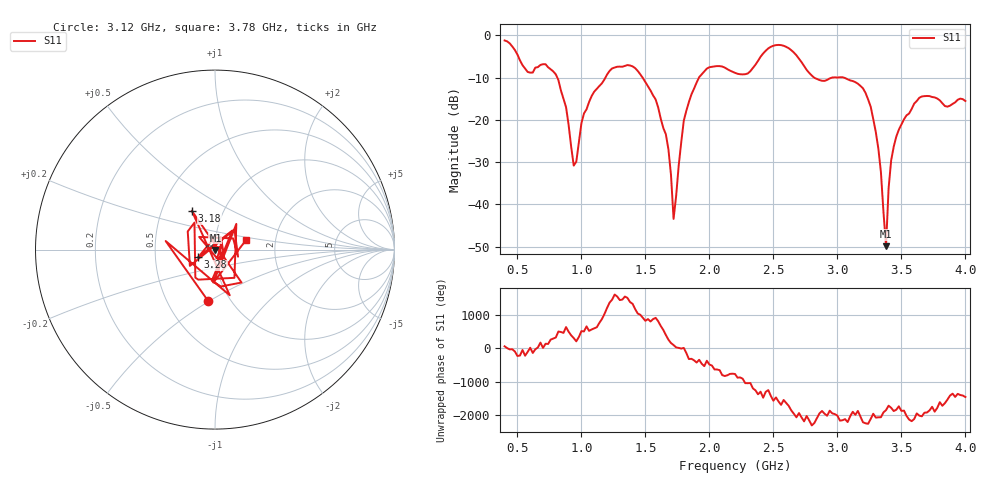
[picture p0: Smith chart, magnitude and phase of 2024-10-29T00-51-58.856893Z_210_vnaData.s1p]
!Created with skrf (http://scikit-rf.org).
# Hz S RI R 50.0
!freq ReS11 ImS11
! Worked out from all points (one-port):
!   181 points, 400 MHz to 4 GHz, reference 50 ohm
!   lowest |S11| = -49.9 dB at 3.38 GHz (marker M1), VSWR 1.01, Z = 50.2 - j0.243 ohm
!   |S11| at or under -10 dB: 811.4 MHz to 1.188 GHz (376.5 MHz wide, 37.7 % of centre); 1.478 GHz to 1.919 GHz (440.7 MHz wide, 26 % of centre); 3.048 GHz to end of sweep (the widest 3 of 4)
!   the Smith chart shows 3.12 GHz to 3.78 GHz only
!   S11 on the Smith chart (normalised r, x): 3.12 GHz: 0.79, -0.49; 3.18 GHz: 0.71, +0.33; 3.28 GHz: 0.83, -0.07; 3.78 GHz: 1.40, +0.15
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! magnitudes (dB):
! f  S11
! 400 MHz  -1.2
! 580 MHz  -8.7
! 780 MHz  -8.5
! 860 MHz  -15.0
! 940 MHz  -30.8
! 1.08 GHz  -14.4
! 1.3 GHz  -7.4
! 1.58 GHz  -15.2
! 1.68 GHz  -27.0
! 1.72 GHz  -43.4
! 1.76 GHz  -30.9
! 1.8 GHz  -20.2
! 1.92 GHz  -9.9
! 2.2 GHz  -8.9
! 2.5 GHz  -2.5
! 2.66 GHz  -4.1
! 2.82 GHz  -10.1
! 3.1 GHz  -10.7
! 3.12 GHz  -10.8
! 3.18 GHz  -12.0
! 3.28 GHz  -19.8
! 3.34 GHz  -32.4
! 3.38 GHz  -49.9
! 3.4 GHz  -36.2
! 3.42 GHz  -29.6
! 3.56 GHz  -18.5
! 3.78 GHz  -15.0
! 4 GHz  -15.5
